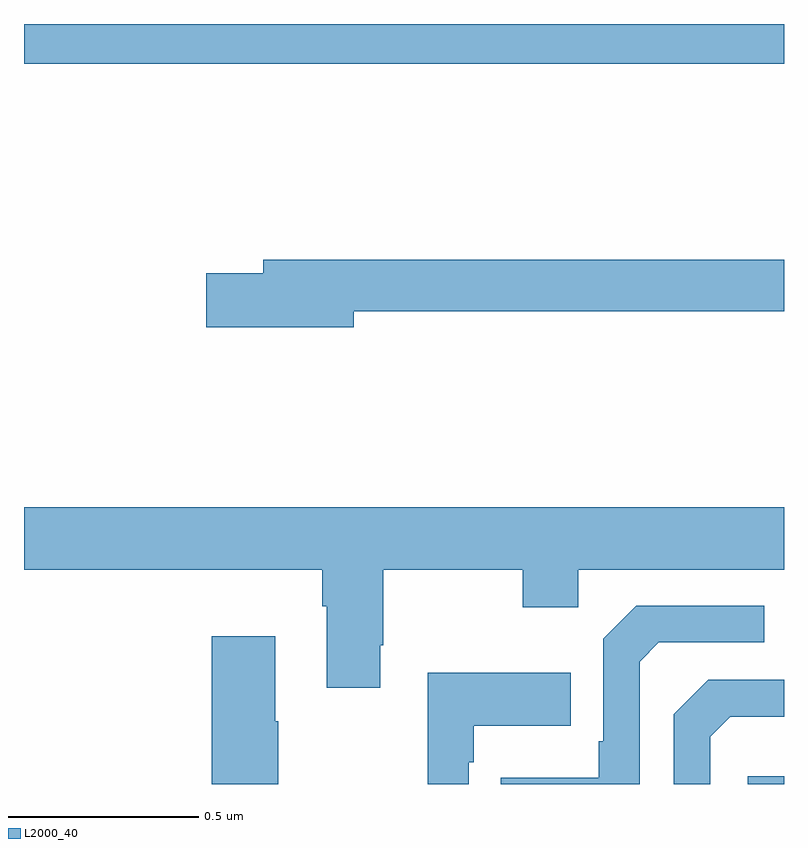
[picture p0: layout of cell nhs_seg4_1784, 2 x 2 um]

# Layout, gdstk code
import gdstk
lib = gdstk.Library(unit=1e-6, precision=1e-09)
def R(c, l, rs):  # rectangles x0, y0, x1, y1
    for r in rs: c.add(gdstk.rectangle(r[:2], r[2:], *l))
def P(c, l, *ps):  # polygons
    for p in ps: c.add(gdstk.Polygon(p, *l))
L2000_40 = (2000, 40)

nhs_seg4_1784 = lib.new_cell('nhs_seg4_1784')
R(nhs_seg4_1784, L2000_40, [(133.905,818.9,134,818.92), (132,820.796,134,820.9)])
P(nhs_seg4_1784, L2000_40, [(132.868,820.144),(134,820.144),(134,820.28),(132.629,820.28),(132.629,820.244),(132.48,820.244),(132.48,820.102),(132.868,820.102)],
  [(132.937,819.265),(132.945,819.265),(132.945,819.464),(133.312,819.464),(133.312,819.365),(133.458,819.365),(133.458,819.464),(134,819.464),(134,819.628),(132,819.628),(132,819.464),(132.785,819.464),(132.785,819.368),(132.797,819.368),(132.797,819.153),(132.937,819.153)],
  [(133.62,819.222),(133.671,819.273),(133.948,819.273),(133.948,819.369),(133.611,819.369),(133.524,819.282),(133.524,819.013),(133.512,819.013),(133.512,818.917),(133.255,818.917),(133.255,818.9),(133.62,818.9)],
  [(132.669,819.065),(132.661,819.065),(132.661,819.289),(132.494,819.289),(132.494,818.9),(132.669,818.9)],
  [(133.17,818.957),(133.183,818.957),(133.183,819.053),(133.439,819.053),(133.439,819.193),(133.062,819.193),(133.062,818.9),(133.17,818.9)],
  [(133.806,819.024),(133.859,819.077),(134,819.077),(134,819.174),(133.8,819.174),(133.71,819.084),(133.71,818.9),(133.806,818.9)])

lib.write_gds('nhs_seg4_1784.gds')
